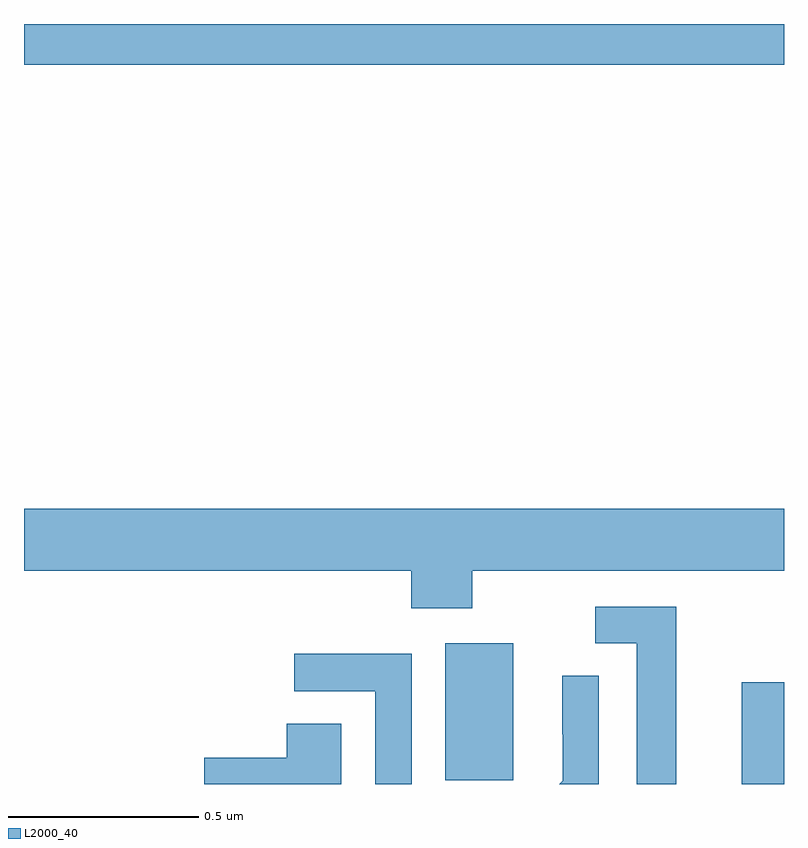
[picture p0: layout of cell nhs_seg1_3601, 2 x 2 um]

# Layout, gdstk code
import gdstk
lib = gdstk.Library(unit=1e-6, precision=1e-09)
def R(c, l, rs):  # rectangles x0, y0, x1, y1
    for r in rs: c.add(gdstk.rectangle(r[:2], r[2:], *l))
def P(c, l, *ps):  # polygons
    for p in ps: c.add(gdstk.Polygon(p, *l))
L2000_40 = (2000, 40)

nhs_seg1_3601 = lib.new_cell('nhs_seg1_3601')
R(nhs_seg1_3601, L2000_40, [(157.889,523.199,158,523.467), (157.109,523.209,157.288,523.57), (156,525.092,158,525.199)])
P(nhs_seg1_3601, L2000_40, [(157.179,523.76),(158,523.76),(158,523.924),(156,523.924),(156,523.76),(157.019,523.76),(157.019,523.661),(157.179,523.661)],
  [(157.717,523.665),(157.503,523.665),(157.503,523.569),(157.613,523.569),(157.613,523.199),(157.717,523.199)],
  [(157.02,523.542),(156.711,523.542),(156.711,523.443),(156.924,523.443),(156.924,523.199),(157.02,523.199)],
  [(157.512,523.484),(157.416,523.484),(157.416,523.33),(157.418,523.33),(157.418,523.208),(157.409,523.199),(157.512,523.199)],
  [(156.835,523.358),(156.692,523.358),(156.692,523.268),(156.474,523.268),(156.474,523.199),(156.835,523.199)])

lib.write_gds('nhs_seg1_3601.gds')
